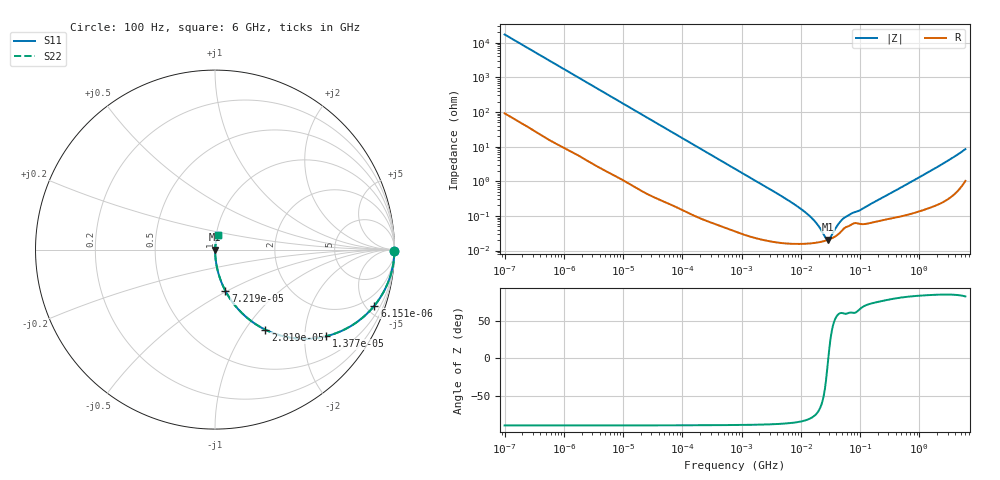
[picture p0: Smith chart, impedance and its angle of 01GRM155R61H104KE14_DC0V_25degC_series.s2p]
!Murata Part Number: GRM155R61H104KE14
!These Parameters are Measured in Series Mode Connection
!  o--ll--o
!Port1  Port2
!  o------o
!Operation Temp=25[degC], DC Bias Voltage=0[V]
!Freq. Start=100[Hz] Stop=6[GHz], 401[Steps]
!Data Generated on Nov 6, 2018
# Hz S RI R 50
!Freq.(Hz) S11(Real) S11(Imag) S21(Real) S21(Imag) S12(Real) S12(Imag) S22(Real) S22(Imag)
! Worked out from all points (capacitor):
!   401 points, 100 Hz to 6 GHz, reference 50 ohm
!   read as one part in series: C = 92.3 nF near 109.4 Hz
!   lowest |Z| = 20.5 mohm at 29.12 MHz (marker M1)
!   series resonance near 29.1 MHz, so ESL is about 320 pH
!   S11 on the Smith chart (normalised r, x): 100 Hz: open; 6.151 kHz: 1.03, -5.68; 13.77 kHz: 1.02, -2.55; 28.19 kHz: 1.01, -1.25; 72.19 kHz: 1.00, -0.49; 6 GHz: 1.02, +0.17
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100  0.9999 -0.0058  6.44e-05 0.0058  6.44e-05 0.0058  0.9999 -0.0058
626.9898  0.9985 -0.0361  0.00149 0.0361  0.00149 0.0361  0.9985 -0.0361
2008.354  0.9862 -0.1137  0.0138 0.1137  0.0138 0.1137  0.9862 -0.1137
6151.412  0.8883 -0.312  0.1117 0.312  0.1117 0.312  0.8883 -0.312
9204.139  0.782 -0.4099  0.218 0.4099  0.218 0.4099  0.782 -0.4099
13771.83  0.6177 -0.4829  0.3823 0.4829  0.3823 0.4829  0.6177 -0.4829
19704.01  0.4428 -0.4937  0.5572 0.4937  0.5572 0.4937  0.4428 -0.4937
28191.46  0.2811 -0.4464  0.7189 0.4464  0.7189 0.4464  0.2811 -0.4464
40334.87  0.1616 -0.3647  0.8384 0.3647  0.8384 0.3647  0.1616 -0.3647
72188.93  0.058 -0.2298  0.942 0.2298  0.942 0.2298  0.058 -0.2298
193316.5  0.00919 -0.0908  0.9908 0.0908  0.9908 0.0908  0.00919 -0.0908
774596.7  0.000886 -0.023  0.9991 0.023  0.9991 0.023  0.000886 -0.023
6644369  0.000164 -0.00258  0.9998 0.00258  0.9998 0.00258  0.000164 -0.00258
1.555665e7  0.000163 -0.00083  0.9998 0.00083  0.9998 0.00083  0.000163 -0.00083
1.946e7  0.000172 -0.000514  0.9998 0.000514  0.9998 0.000514  0.000172 -0.000514
2.662321e7  0.000195 -0.000111  0.9998 0.000111  0.9998 0.000111  0.000195 -0.000111
2.911731e7  0.000205 6.81e-07  0.9998 -6.81e-07  0.9998 -6.81e-07  0.000205 6.81e-07
3.184506e7  0.000218 0.000112  0.9998 -0.000112  0.9998 -0.000112  0.000218 0.000112
4.35672e7  0.000303 0.000515  0.9997 -0.000515  0.9997 -0.000515  0.000303 0.000515
5.449875e7  0.000445 0.00077  0.9996 -0.00077  0.9996 -0.00077  0.000445 0.00077
3.124326e8  0.000844 0.00424  0.9992 -0.00424  0.9992 -0.00424  0.000844 0.00424
6e9  0.017 0.0819  0.983 -0.0819  0.983 -0.0819  0.017 0.0819
